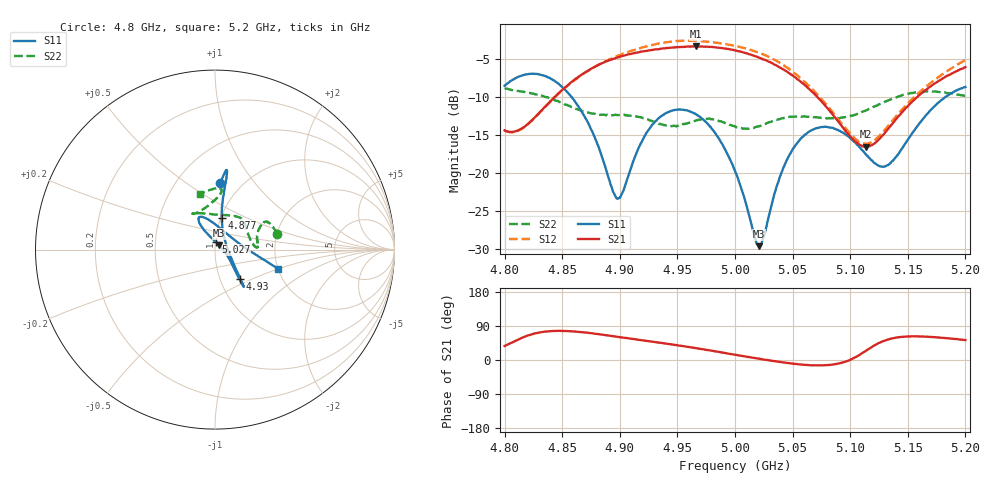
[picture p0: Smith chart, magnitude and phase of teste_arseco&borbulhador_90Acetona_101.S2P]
! Network Analyzer HP8722D
! Hewlett-Packard
! Data name: Linha & Wilkinson
! Saver's name: Rodrigo Anjos
! Comments: Teste da utilização de aquisição
! continua pelo VNA HP8722D
! Time and date: 17/4/2025 11:53
!  Frequency  S11  S21  S12  S22
# HZ  S  MA R 50
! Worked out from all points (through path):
!   401 points, 4.8 GHz to 5.2 GHz, reference 50 ohm
!   highest |S21| = -3.36 dB at 4.966 GHz (marker M1); lowest = -16.6 dB at 5.114 GHz (marker M2)
!   lowest |S11| = -29.6 dB at 5.021 GHz (marker M3), VSWR 1.07, Z = 52.4 + j2.41 ohm
!   |S11| at or under -10 dB: 4.858 GHz to 5.183 GHz (324.9 MHz wide, 6.47 % of centre)
!   |S22| runs from -14.2 to -8.9 dB; largest |S21 - S12| = 0.23
!   S11 on the Smith chart (normalised r, x): 4.8 GHz: 0.79, +0.69; 4.877 GHz: 1.01, +0.37; 4.93 GHz: 1.25, -0.42; 5.027 GHz: 1.00, +0.09; 5.2 GHz: 2.00, -0.49
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4.8e9  0.3736 85.9  0.1905 37.0  0.1895 -2.8  0.3564 14.1
4.814e9  0.4333 82.7  0.1942 57.1  0.193 18.5  0.3425 23.3
4.834e9  0.4357 81.1  0.2672 74.5  0.2655 37.8  0.3181 28.9
4.867e9  0.2523 80.9  0.4429 73.4  0.4389 43.5  0.2564 22.0
4.877e9  0.18 78.0  0.4917 69.8  0.4916 42.6  0.2453 17.1
4.894e9  0.07588 43.8  0.56 62.8  0.5697 40.1  0.24 9.0
4.899e9  0.06872 14.6  0.5749 60.6  0.591 39.4  0.2402 7.0
4.918e9  0.1552 -42.4  0.6237 52.6  0.6609 35.2  0.233 3.1
4.93e9  0.2148 -48.9  0.6463 47.5  0.696 31.8  0.2168 6.9
4.934e9  0.23 -50.2  0.6485 45.7  0.7091 30.5  0.2096 9.3
4.966e9  0.2436 -51.8  0.679 31.3  0.7361 18.4  0.2213 41.8
4.984e9  0.1772 -47.7  0.6652 22.4  0.7136 11.5  0.2235 54.7
5e9  0.1035 -35.6  0.6376 13.8  0.6826 5.5  0.2028 72.2
5.021e9  0.03315 43.8  0.571 3.3  0.6156 -2.4  0.2024 101.2
5.027e9  0.04362 85.8  0.5484 0.2  0.5902 -4.4  0.211 107.7
5.044e9  0.1173 118.3  0.4687 -7.2  0.4976 -10.4  0.2315 118.3
5.067e9  0.192 118.8  0.3412 -13.8  0.3552 -13.6  0.2341 121.4
5.089e9  0.1923 110.0  0.2206 -9.9  0.2292 -5.6  0.2289 112.3
5.114e9  0.1314 83.9  0.1487 25.1  0.1555 33.0  0.2582 95.2
5.134e9  0.1147 34.5  0.1995 55.2  0.2083 65.5  0.3015 85.6
5.171e9  0.2644 -10.8  0.3762 60.5  0.396 78.4  0.342 87.5
5.2e9  0.3668 -16.9  0.4949 52.5  0.5508 76.4  0.322 104.6
